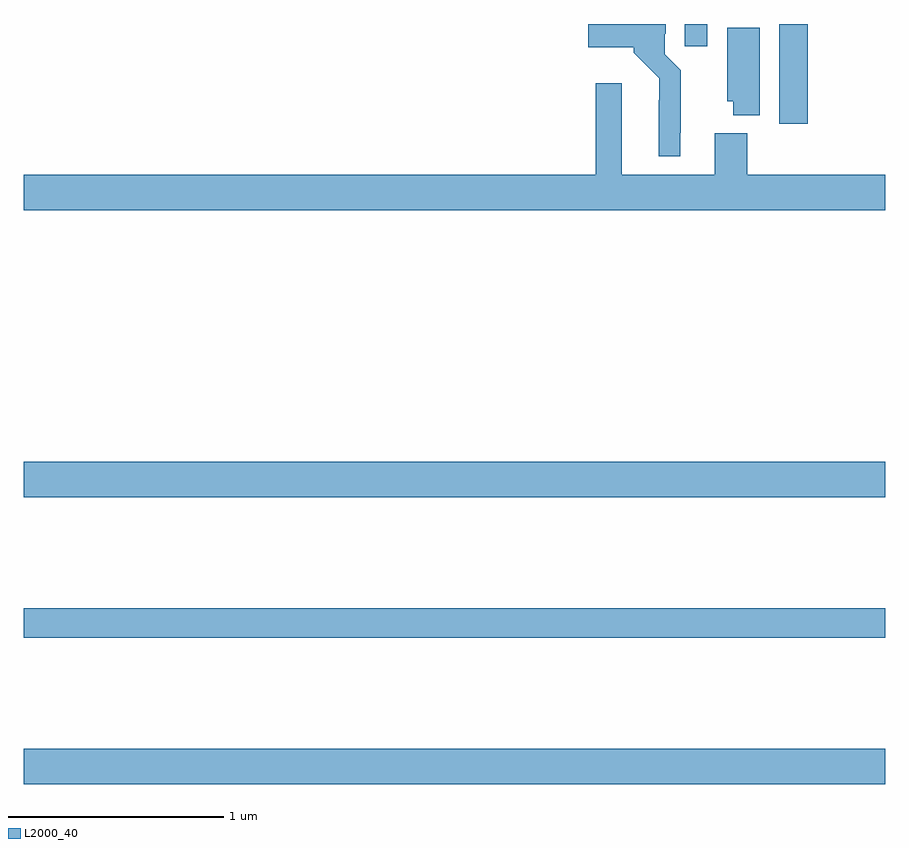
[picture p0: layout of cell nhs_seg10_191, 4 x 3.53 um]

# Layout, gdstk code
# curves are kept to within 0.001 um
import gdstk
lib = gdstk.Library(unit=1e-6, precision=1e-09)
def R(c, l, rs):  # rectangles x0, y0, x1, y1
    for r in rs: c.add(gdstk.rectangle(r[:2], r[2:], *l))
def P(c, l, *ps):  # polygons
    for p in ps: c.add(gdstk.Polygon(p, *l))
L2000_40 = (2000, 40)

nhs_seg10_191 = lib.new_cell('nhs_seg10_191')
R(nhs_seg10_191, L2000_40, [(119,1310.972,123,1311.136), (119,1311.652,123,1311.788), (119,1312.304,123,1312.468), (122.507,1314.036,122.639,1314.5), (122.069,1314.396,122.173,1314.5)])
P(nhs_seg10_191, L2000_40, [(122.047,1313.995),(122.051,1313.995),(122.051,1314.286),(121.977,1314.36),(121.977,1314.454),(121.981,1314.454),(121.981,1314.5),(121.62,1314.5),(121.62,1314.392),(121.832,1314.392),(121.832,1314.366),(121.95,1314.248),(121.949,1313.885),(122.047,1313.885)],
  [(122.416,1314.482),(122.267,1314.482),(122.267,1314.141),(122.294,1314.141),(122.294,1314.077),(122.416,1314.077)],
  [(123,1313.8),(122.36,1313.8),(122.36,1313.992),(122.207,1313.992),(122.207,1313.8),(121.777,1313.8),(121.777,1314.226),(121.655,1314.226),(121.655,1313.8),(119,1313.8),(119,1313.636),(123,1313.636)])

lib.write_gds('nhs_seg10_191.gds')
